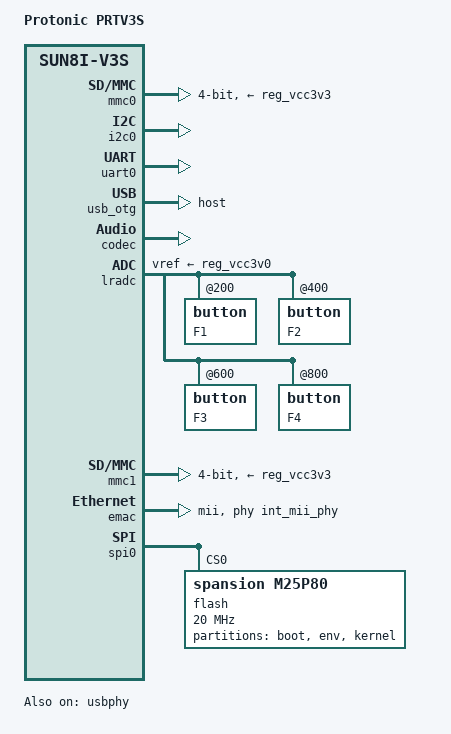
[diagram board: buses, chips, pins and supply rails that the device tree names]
/*
 * Copyright (c) 2017 Protonic Holland
 *
 * based on sun8i-v3s-licheepi-zero.dts:
 *
 * Copyright (C) 2016 Icenowy Zheng <icenowy@aosc.xyz>
 *
 * This file is free software; you can redistribute it and/or
 * modify it under the terms of the GNU General Public License as
 * published by the Free Software Foundation; either version 2 of the
 * License, or (at your option) any later version.
 *
 * This file is distributed in the hope that it will be useful,
 * but WITHOUT ANY WARRANTY; without even the implied warranty of
 * MERCHANTABILITY or FITNESS FOR A PARTICULAR PURPOSE.  See the
 * GNU General Public License for more details.
 */

/dts-v1/;
#include "sun8i-v3s.dtsi"
#include "sunxi-common-regulators.dtsi"
#include <dt-bindings/input/input.h>

/ {
	model = "Protonic PRTV3S";
	compatible = "prt,prtv3s", "allwinner,sun8i-v3s";

	aliases {
		serial0 = &uart0;
		ethernet0 = &emac;
	};

	chosen {
		stdout-path = "serial0:115200n8";
	};
};

&mmc0 {
	pinctrl-0 = <&mmc0_pins_a>;
	pinctrl-names = "default";
	broken-cd;
	bus-width = <4>;
	vmmc-supply = <&reg_vcc3v3>;
	status = "okay";
	max-frequency = <25000000>;
};

&i2c0 {
	status = "okay";
};

&uart0 {
	pinctrl-0 = <&uart0_pins_a>;
	pinctrl-names = "default";
	status = "okay";
};

&usb_otg {
	dr_mode = "host";
	status = "okay";
};

&usbphy {
	/* usb0_id_det-gpio = <&pio 5 6 GPIO_ACTIVE_HIGH>; */
	status = "okay";
};

&codec {
	allwinner,audio-routing =
		"Headphone", "HP",
		"Headphone", "HPCOM",
		"MIC1", "Mic",
		"Mic",  "HBIAS";
	status = "okay";
};

&lradc {
	vref-supply = <&reg_vcc3v0>;
	status = "okay";
	button@200 {
		label = "F1";
		linux,code = <KEY_F1>;
		channel = <0>;
		voltage = <200000>;
	};

	button@400 {
		label = "F2";
		linux,code = <KEY_F2>;
		channel = <0>;
		voltage = <400000>;
	};

	button@600 {
		label = "F3";
		linux,code = <KEY_F3>;
		channel = <0>;
		voltage = <600000>;
	};

	button@800 {
		label = "F4";
		linux,code = <KEY_F4>;
		channel = <0>;
		voltage = <800000>;
	};
};

&mmc1 {
	pinctrl-0 = <&mmc1_pins>;
	pinctrl-names = "default";
	broken-cd;
	bus-width = <4>;
	vmmc-supply = <&reg_vcc3v3>;
	status = "okay";
};

&emac {
	phy-handle = <&int_mii_phy>;
	phy-mode = "mii";
	allwinner,leds-active-high;
	status = "okay";
};

&spi0 {
	status = "okay";
	flash: s25sl032p@0 {
		compatible = "spansion,m25p80";
		spi-max-frequency = <20000000>;
		reg = <0>;
		#address-cells = <1>;
		#size-cells = <1>;

		partition@0 {
			label = "boot";
			reg = <0x0 0x80000>;
		};

		partition@40000 {
			label = "env";
			reg = <0x80000 0x10000>;
		};

		partition@50000 {
			label = "kernel";
			reg = <0x90000 0x370000>;
		};
	};
};
